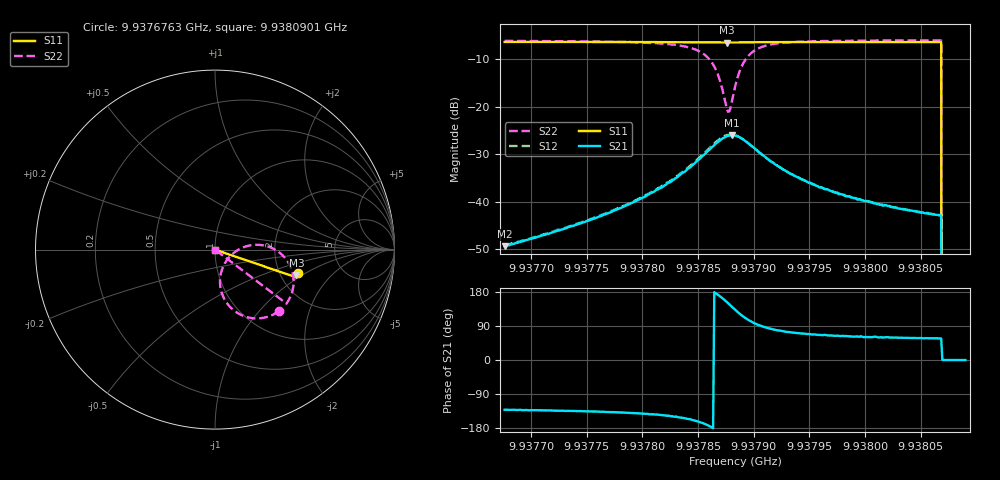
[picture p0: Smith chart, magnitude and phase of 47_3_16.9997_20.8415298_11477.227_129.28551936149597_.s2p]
#  HZ  S  RI  R  50.00
! Rohde & Schwarz Vector Network Analyzer
! Rohde-Schwarz,ZNB20-2Port,1311601062101988,3.16
! Created: UTC 3/20/2024, 10:54:09 PM
! freq[Hz]  re:S11  im:S11  re:S21  im:S21  re:S12  im:S12  re:S22  im:S22
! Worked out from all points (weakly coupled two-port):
!   401 points, 9.9376763 GHz to 9.9380901 GHz, reference 50 ohm
!   highest |S21| = -25.97 dB at 9.9378801 GHz (marker M1); lowest = -49.3 dB at 9.9376763 GHz (marker M2)
!   lowest |S11| = -6.5 dB at 9.9378759 GHz (marker M3), VSWR 2.81, Z = 121 - j44.4 ohm
!   |S11| at or under -10 dB: 9.9380684 GHz to end of sweep
!   |S22| runs from - to -6.0 dB; largest |S21 - S12| = 0.0034
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9.93767626e9  0.4636 -0.1308  -0.00226 -0.00257  -0.00234 -0.00262  0.3557 -0.3427
9.93774558e9  0.4618 -0.1356  -0.00423 -0.00423  -0.00442 -0.00428  0.334 -0.3568
9.93778282e9  0.4607 -0.1384  -0.00666 -0.00584  -0.0069 -0.00587  0.3104 -0.3682
9.9378149e9  0.4594 -0.1406  -0.0112 -0.00797  -0.0117 -0.00794  0.2685 -0.3803
9.9378418e9  0.4576 -0.143  -0.0207 -0.00916  -0.0216 -0.00903  0.1871 -0.3784
9.93785731e9  0.4558 -0.1436  -0.0325 -0.00561  -0.0339 -0.00477  0.0939 -0.3291
9.93786663e9  0.4544 -0.1434  -0.0414 0.00391  -0.043 0.00594  0.0356 -0.2347
9.93786973e9  0.4539 -0.1431  -0.0436 0.00918  -0.0447 0.0117  0.028 -0.1864
9.93787594e9  0.4533 -0.1418  -0.0437 0.0226  -0.0435 0.0258  0.0545 -0.0772
9.93787801e9  0.4535 -0.1414  -0.0419 0.0271  -0.0411 0.0303  0.0781 -0.0437
9.93788008e9  0.4536 -0.1411  -0.0393 0.0314  -0.0381 0.0344  0.1081 -0.0154
9.93788318e9  0.4539 -0.1406  -0.034 0.0365  -0.032 0.039  0.1611 0.014
9.93788628e9  0.4546 -0.1402  -0.0277 0.0399  -0.0254 0.0416  0.2164 0.0263
9.93789042e9  0.4554 -0.1401  -0.0194 0.0412  -0.0169 0.0422  0.2841 0.0203
9.9379018e9  0.4572 -0.1411  -0.0035 0.0355  -0.00194 0.0355  0.3949 -0.0524
9.93792353e9  0.4581 -0.1436  0.00496 0.0226  0.00578 0.0223  0.4379 -0.1667
9.9379525e9  0.4575 -0.1465  0.00601 0.0143  0.00622 0.014  0.4308 -0.2332
9.93798354e9  0.4568 -0.149  0.00524 0.0103  0.00541 0.0101  0.419 -0.2656
9.93802182e9  0.4558 -0.1519  0.00467 0.00781  0.00472 0.00766  0.408 -0.2863
9.9380663e9  0.4545 -0.1549  0.00394 0.00606  0.00412 0.00605  0.3987 -0.3006
9.93807148e9  0 0  0 0  0 0  0 0
9.9380901e9  0 0  0 0  0 0  0 0
